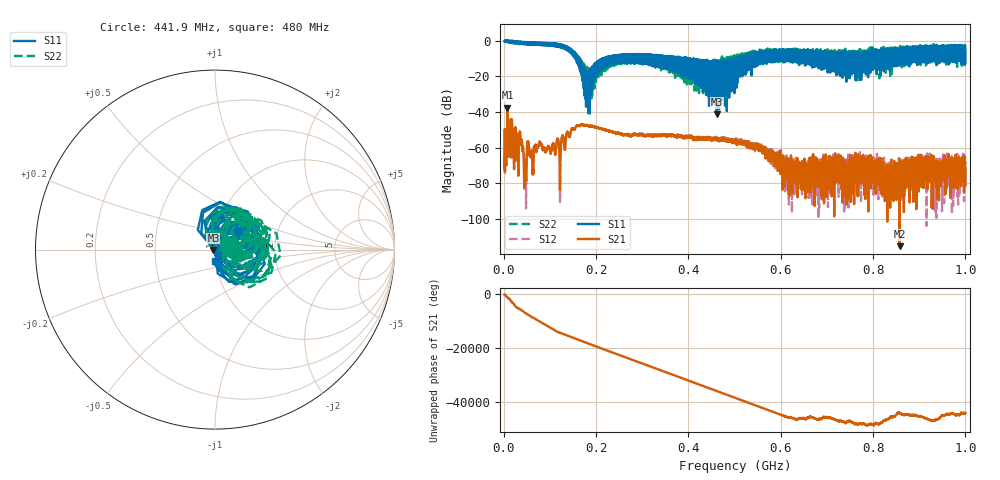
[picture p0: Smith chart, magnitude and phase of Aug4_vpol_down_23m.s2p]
!Keysight Technologies N9923A: A.12.45
!Date: Tuesday, 05 August 2025 20:47:30
!Timezone: (UTC+08:00) Kuala Lumpur, Singapore
!Model: N9923A
!Serial: MY61181427
!GPS Latitude:
!GPS Longitude:
!GPS TimeStamp: 0001-01-01 00:00:00Z
!GPS Seconds Since Last Read: 0
!CHECKSUM:0077877961
!Correction: S11(ON U)S21(ON U)S12(ON U)S22(ON U)
!S2P File: Measurements:S11,S21,S12,S22:
# Hz S DB R 50
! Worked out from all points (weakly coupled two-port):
!   4001 points, 2 MHz to 1 GHz, reference 50 ohm
!   highest |S21| = -37.52 dB at 8.238 MHz (marker M1); lowest = -115.2 dB at 857.3 MHz (marker M2)
!   lowest |S11| = -41.1 dB at 461.6 MHz (marker M3), VSWR 1.02, Z = 49.2 - j0.223 ohm
!   |S11| at or under -10 dB: 162.8 MHz to 213.8 MHz (51.01 MHz wide, 27.1 % of centre); 405.5 MHz to 410.4 MHz (4.973 MHz wide, 1.22 % of centre); 412.2 MHz to 494 MHz (81.82 MHz wide, 18.1 % of centre)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
!   |S22| runs from -35.6 to 0.1 dB; largest |S21 - S12| = 0.001
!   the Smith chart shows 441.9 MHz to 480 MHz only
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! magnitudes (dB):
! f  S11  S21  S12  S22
! 2 MHz  -0.1  -71.3  -69.7  -0.1
! 8.238 MHz  -0.1  -37.5  -37.4  -0.3
! 12.73 MHz  -0.7  -51.8  -51.5  -1.3
! 37.18 MHz  -0.7  -58.3  -58.7  -0.9
! 45.41 MHz  -0.6  -68.6  -73.0  -0.8
! 55.14 MHz  -1.2  -60.3  -60.8  -1.1
! 60.38 MHz  -0.9  -62.8  -63.3  -1.0
! 77.6 MHz  -1.5  -56.8  -56.7  -1.5
! 118.8 MHz  -2.5  -56.4  -56.4  -2.9
! 132.7 MHz  -2.9  -60.8  -61.1  -2.9
! 168.4 MHz  -19.3  -47.0  -46.8  -16.3
! 181.6 MHz  -29.4  -47.5  -47.7  -25.6
! 229 MHz  -8.6  -50.6  -50.8  -9.7
! 334.8 MHz  -8.2  -52.8  -53.0  -10.2
! 461.6 MHz  -41.1  -54.6  -54.9  -21.6
! 501 MHz  -10.0  -56.7  -55.0  -9.0
! 613.3 MHz  -5.0  -75.9  -69.9  -7.8
! 667.4 MHz  -6.1  -74.8  -77.8  -6.7
! 774.5 MHz  -15.5  -68.7  -70.0  -9.6
! 833.8 MHz  -6.2  -83.5  -85.2  -13.8
! 857.3 MHz  -5.9  -115.2  -78.4  -12.0
! 1 GHz  -12.4  -71.3  -71.9  -4.0
